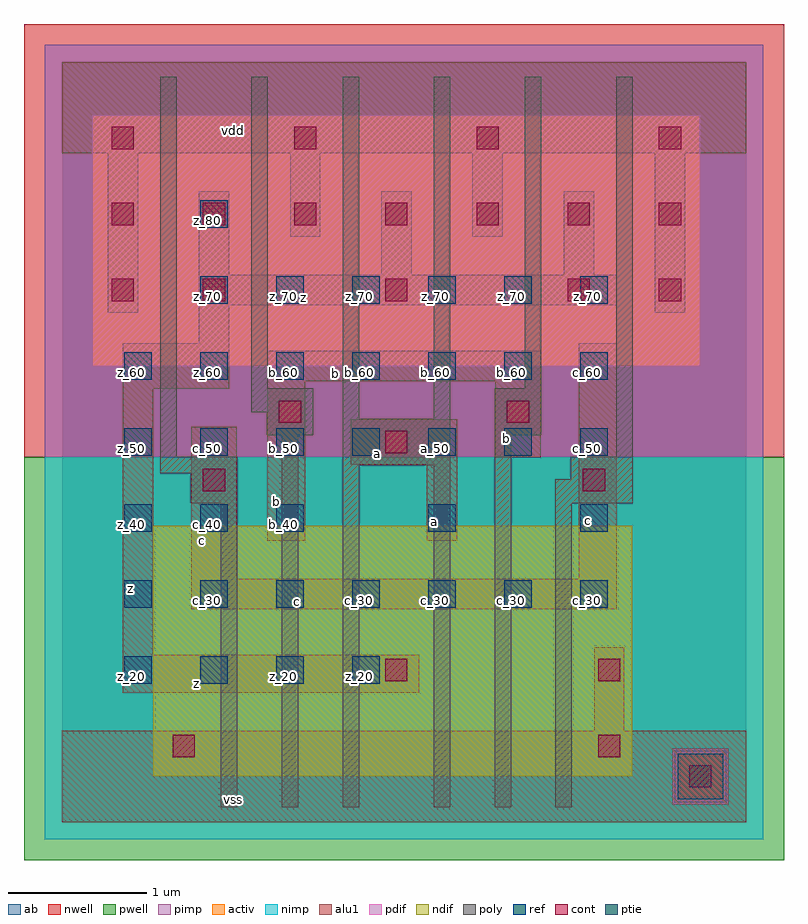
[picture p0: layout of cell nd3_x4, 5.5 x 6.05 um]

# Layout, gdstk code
import gdstk
lib = gdstk.Library(unit=1e-6, precision=2.5e-09)
def R(c, l, rs):  # rectangles x0, y0, x1, y1
    for r in rs: c.add(gdstk.rectangle(r[:2], r[2:], *l))
def A(c, l, x, y, w, h, nx, ny, dx, dy):  # array of equal rectangles
    R(c, l, [(x+i*dx, y+j*dy, x+i*dx+w, y+j*dy+h) for i in range(nx) for j in range(ny)])
ndif = (3, 0)
pdif = (4, 0)
ptie = (6, 0)
ref = (24, 0)
cont = (25, 0)
pwell = (41, 0)
nwell = (42, 0)
activ = (43, 0)
pimp = (44, 0)
nimp = (45, 0)
poly = (46, 0)
alu1 = (49, 0)
ab = (63, 0)

nd3_x4 = lib.new_cell('nd3_x4')
R(nd3_x4, ndif, [(0.66,0.33,4.125,2.145)])
R(nd3_x4, pdif, [(0.22,3.3,4.62,5.115)])
R(nd3_x4, ptie, [(4.455,0.165,4.785,0.495)])
A(nd3_x4, ref, 0.45, 1, 0.2, 0.2, 4, 1, 0.55, 0)
A(nd3_x4, ref, 0.45, 1.55, 0.2, 0.2, 7, 2, 0.55, 1.1)
A(nd3_x4, ref, 0.45, 2.1, 0.2, 0.2, 3, 1, 0.55, 0)
A(nd3_x4, ref, 0.45, 3.2, 0.2, 0.2, 7, 1, 0.55, 0)
A(nd3_x4, ref, 1, 3.75, 0.2, 0.2, 6, 1, 0.55, 0)
R(nd3_x4, ref, [(2.65,2.1,2.85,2.3), (3.75,2.1,3.95,2.3), (1,4.3,1.2,4.5)])
A(nd3_x4, cont, 1.02, 3.77, 0.16, 0.16, 3, 1, 1.32, 0)
A(nd3_x4, cont, 0.36, 4.32, 0.16, 0.16, 7, 1, 0.66, 0)
A(nd3_x4, cont, 0.36, 4.87, 0.16, 0.16, 4, 1, 1.32, 0)
R(nd3_x4, cont, [(4.54,0.25,4.7,0.41), (0.8,0.47,0.96,0.63), (3.88,0.47,4.04,0.63), (2.34,1.02,2.5,1.18), (3.88,1.02,4.04,1.18), (1.02,2.395,1.18,2.555), (3.77,2.395,3.93,2.555), (2.34,2.67,2.5,2.83), (1.57,2.89,1.73,3.05), (3.22,2.89,3.38,3.05), (0.36,3.77,0.52,3.93), (4.32,3.77,4.48,3.93)])
R(nd3_x4, pwell, [(-0.275,-0.275,5.225,2.64)])
R(nd3_x4, nwell, [(-0.275,2.64,5.225,5.775)])
R(nd3_x4, activ, [(4.455,0.165,4.785,0.495), (0.66,0.33,4.125,2.145), (0.22,3.3,4.62,5.115)])
R(nd3_x4, pimp, [(4.415,0.125,4.825,0.535), (-0.125,2.64,5.075,5.625)])
R(nd3_x4, nimp, [(-0.125,-0.125,5.075,0.125), (-0.125,0.125,4.415,0.535), (4.825,0.125,5.075,0.535), (-0.125,0.535,5.075,2.64)])
R(nd3_x4, poly, [(1.15,0.105,1.27,2.305), (1.59,0.105,1.71,2.8), (2.03,0.105,2.15,2.58), (2.69,0.105,2.81,2.58), (3.13,0.105,3.25,2.8), (3.57,0.105,3.69,2.305), (0.93,2.305,1.27,2.525), (3.57,2.305,4.13,2.48), (3.68,2.48,4.13,2.645), (0.71,2.525,1.27,2.645), (2.03,2.58,2.81,2.92), (0.71,2.645,0.83,5.395), (4.01,2.645,4.13,5.395), (1.48,2.8,1.82,2.965), (3.13,2.8,3.47,3.14), (2.03,2.92,2.15,5.395), (2.69,2.92,2.81,5.395), (1.37,2.965,1.82,3.14), (1.37,3.14,1.49,5.395), (3.35,3.14,3.47,5.395)])
A(nd3_x4, alu1, 0.99, 3.96, 0.22, 0.605, 3, 1, 1.32, 0)
R(nd3_x4, alu1, [(0,0,4.95,0.66), (3.85,0.66,4.07,1.265), (0.44,0.935,2.585,1.21), (0.44,1.21,0.66,3.135), (0.935,1.54,4.015,1.76), (0.935,1.76,1.265,2.86), (3.74,1.76,4.015,3.465), (1.485,2.035,1.76,3.19), (2.64,2.035,2.86,2.585), (2.09,2.585,2.86,2.915), (3.135,2.64,3.465,3.19), (0.44,3.135,1.21,3.465), (1.485,3.19,3.465,3.41), (0.99,3.465,1.21,3.74), (0.33,3.685,0.55,4.84), (4.29,3.685,4.51,4.84), (0.99,3.74,4.015,3.96), (1.65,4.235,1.87,4.84), (2.97,4.235,3.19,4.84), (0,4.84,4.95,5.5)])
R(nd3_x4, ab, [(0,0,4.95,5.5)])
nd3_x4.add(gdstk.Label('vss', (1.2375,0.165), layer=49, texttype=0))
nd3_x4.add(gdstk.Label('z', (0.975,1.0025), layer=49, texttype=0))
nd3_x4.add(gdstk.Label('c', (1.705,1.595), layer=49, texttype=0))
nd3_x4.add(gdstk.Label('c', (3.8075,2.185), layer=49, texttype=0))
nd3_x4.add(gdstk.Label('a', (2.695,2.1725), layer=49, texttype=0))
nd3_x4.add(gdstk.Label('b', (3.2175,2.7775), layer=49, texttype=0))
nd3_x4.add(gdstk.Label('a', (2.2825,2.6675), layer=49, texttype=0))
nd3_x4.add(gdstk.Label('b', (1.5525,2.3225), layer=49, texttype=0))
nd3_x4.add(gdstk.Label('c', (1.0175,2.035), layer=49, texttype=0))
nd3_x4.add(gdstk.Label('z', (0.495,1.69), layer=49, texttype=0))
nd3_x4.add(gdstk.Label('b', (1.98,3.245), layer=49, texttype=0))
nd3_x4.add(gdstk.Label('z', (1.745,3.795), layer=49, texttype=0))
nd3_x4.add(gdstk.Label('vdd', (1.2375,5.005), layer=49, texttype=0))
nd3_x4.add(gdstk.Label('a_40', (2.7,2.15), layer=24, texttype=0))
nd3_x4.add(gdstk.Label('b_40', (1.6,2.15), layer=24, texttype=0))
nd3_x4.add(gdstk.Label('c_30', (1.05,1.6), layer=24, texttype=0))
nd3_x4.add(gdstk.Label('c_30', (1.6,1.6), layer=24, texttype=0))
nd3_x4.add(gdstk.Label('c_30', (2.15,1.6), layer=24, texttype=0))
nd3_x4.add(gdstk.Label('c_30', (2.7,1.6), layer=24, texttype=0))
nd3_x4.add(gdstk.Label('z_20', (2.15,1.05), layer=24, texttype=0))
nd3_x4.add(gdstk.Label('z_20', (1.6,1.05), layer=24, texttype=0))
nd3_x4.add(gdstk.Label('z_20', (1.05,1.05), layer=24, texttype=0))
nd3_x4.add(gdstk.Label('z_20', (0.5,1.05), layer=24, texttype=0))
nd3_x4.add(gdstk.Label('c_30', (3.8,1.6), layer=24, texttype=0))
nd3_x4.add(gdstk.Label('z_30', (0.5,1.6), layer=24, texttype=0))
nd3_x4.add(gdstk.Label('b_60', (3.25,3.25), layer=24, texttype=0))
nd3_x4.add(gdstk.Label('c_40', (3.8,2.15), layer=24, texttype=0))
nd3_x4.add(gdstk.Label('c_40', (1.05,2.15), layer=24, texttype=0))
nd3_x4.add(gdstk.Label('z_60', (1.05,3.25), layer=24, texttype=0))
nd3_x4.add(gdstk.Label('b_50', (1.6,2.7), layer=24, texttype=0))
nd3_x4.add(gdstk.Label('b_50', (3.25,2.7), layer=24, texttype=0))
nd3_x4.add(gdstk.Label('c_30', (3.25,1.6), layer=24, texttype=0))
nd3_x4.add(gdstk.Label('c_60', (3.8,3.25), layer=24, texttype=0))
nd3_x4.add(gdstk.Label('b_60', (2.7,3.25), layer=24, texttype=0))
nd3_x4.add(gdstk.Label('b_60', (2.15,3.25), layer=24, texttype=0))
nd3_x4.add(gdstk.Label('a_50', (2.7,2.7), layer=24, texttype=0))
nd3_x4.add(gdstk.Label('c_50', (3.8,2.7), layer=24, texttype=0))
nd3_x4.add(gdstk.Label('z_70', (3.25,3.8), layer=24, texttype=0))
nd3_x4.add(gdstk.Label('z_70', (2.7,3.8), layer=24, texttype=0))
nd3_x4.add(gdstk.Label('z_70', (2.15,3.8), layer=24, texttype=0))
nd3_x4.add(gdstk.Label('z_40', (0.5,2.15), layer=24, texttype=0))
nd3_x4.add(gdstk.Label('z_50', (0.5,2.7), layer=24, texttype=0))
nd3_x4.add(gdstk.Label('z_60', (0.5,3.25), layer=24, texttype=0))
nd3_x4.add(gdstk.Label('b_60', (1.6,3.25), layer=24, texttype=0))
nd3_x4.add(gdstk.Label('a_50', (2.15,2.7), layer=24, texttype=0))
nd3_x4.add(gdstk.Label('c_50', (1.05,2.7), layer=24, texttype=0))
nd3_x4.add(gdstk.Label('z_70', (1.05,3.8), layer=24, texttype=0))
nd3_x4.add(gdstk.Label('z_70', (1.6,3.8), layer=24, texttype=0))
nd3_x4.add(gdstk.Label('z_80', (1.05,4.35), layer=24, texttype=0))
nd3_x4.add(gdstk.Label('z_70', (3.8,3.8), layer=24, texttype=0))

lib.write_gds('nd3_x4.gds')
